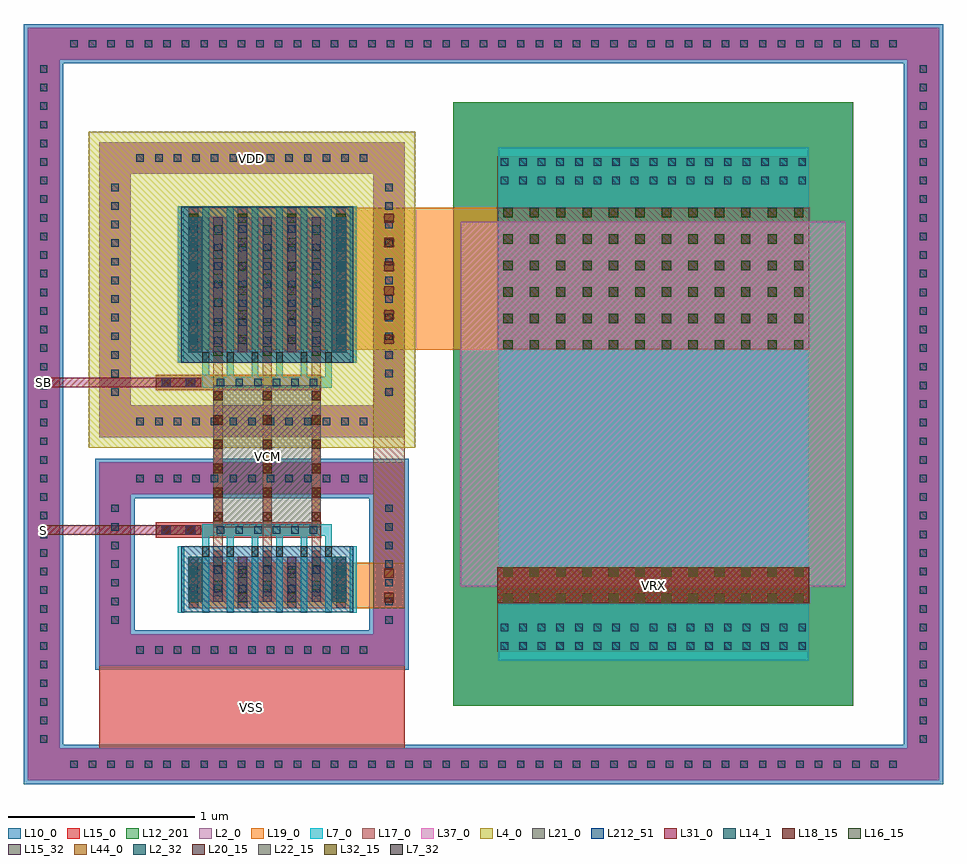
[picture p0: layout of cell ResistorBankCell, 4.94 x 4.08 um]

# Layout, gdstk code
import gdstk
lib = gdstk.Library(unit=1e-6, precision=1e-09)
def R(c, l, rs):  # rectangles x0, y0, x1, y1
    for r in rs: c.add(gdstk.rectangle(r[:2], r[2:], *l))
def A(c, l, x, y, w, h, nx, ny, dx, dy):  # array of equal rectangles
    R(c, l, [(x+i*dx, y+j*dy, x+i*dx+w, y+j*dy+h) for i in range(nx) for j in range(ny)])
L2_0 = (2, 0)
L2_32 = (2, 32)
L4_0 = (4, 0)
L7_0 = (7, 0)
L7_32 = (7, 32)
L10_0 = (10, 0)
L12_201 = (12, 201)
L14_1 = (14, 1)
L15_0 = (15, 0)
L15_32 = (15, 32)
L16_15 = (16, 15)
L17_0 = (17, 0)
L18_15 = (18, 15)
L19_0 = (19, 0)
L20_15 = (20, 15)
L21_0 = (21, 0)
L22_15 = (22, 15)
L31_0 = (31, 0)
L32_15 = (32, 15)
L37_0 = (37, 0)
L44_0 = (44, 0)
L212_51 = (212, 51)

nmosintransmissiongate = lib.new_cell('NMOSInTransmissionGate')
R(nmosintransmissiongate, L2_0, [(-0.424,-0.121,0.424,0.121)])
R(nmosintransmissiongate, L2_32, [(-0.424,-0.121,-0.348,0.121), (0.348,-0.121,0.424,0.121)])
A(nmosintransmissiongate, L7_0, -0.48, -0.178, 0.036, 0.356, 8, 1, 0.132, 0)
A(nmosintransmissiongate, L7_32, -0.348, -0.178, 0.036, 0.057, 6, 1, 0.132, 0)
A(nmosintransmissiongate, L14_1, -0.416, -0.07, 0.04, 0.04, 7, 2, 0.132, 0.1)
A(nmosintransmissiongate, L15_0, -0.421, -0.121, 0.05, 0.242, 7, 1, 0.132, 0)
A(nmosintransmissiongate, L15_32, -0.421, -0.121, 0.05, 0.242, 7, 1, 0.132, 0)
R(nmosintransmissiongate, L212_51, [(-0.462,-0.177,0.462,0.177)])

pmosintransmissiongate = lib.new_cell('PMOSInTransmissionGate')
R(pmosintransmissiongate, L2_0, [(-0.424,-0.363,0.424,0.363)])
R(pmosintransmissiongate, L2_32, [(-0.424,-0.363,-0.348,0.363), (0.348,-0.363,0.424,0.363)])
A(pmosintransmissiongate, L7_0, -0.48, -0.42, 0.036, 0.84, 8, 1, 0.132, 0)
A(pmosintransmissiongate, L7_32, -0.348, -0.42, 0.036, 0.057, 6, 1, 0.132, 0)
R(pmosintransmissiongate, L10_0, [(-0.48,-0.42,0.48,0.42)])
A(pmosintransmissiongate, L14_1, -0.416, -0.32, 0.04, 0.04, 7, 7, 0.132, 0.1)
A(pmosintransmissiongate, L15_0, -0.421, -0.363, 0.05, 0.726, 7, 1, 0.132, 0)
A(pmosintransmissiongate, L15_32, -0.421, -0.363, 0.05, 0.726, 7, 1, 0.132, 0)
R(pmosintransmissiongate, L212_51, [(-0.462,-0.419,0.462,0.419)])

viamet12met2onpmosoutput = lib.new_cell('ViaMet12Met2OnPMOSOutputInTransmissionGate')
R(viamet12met2onpmosoutput, L15_0, [(-0.025,-0.382,0.025,0.382)])
A(viamet12met2onpmosoutput, L16_15, -0.025, -0.35, 0.05, 0.05, 1, 6, 0, 0.13)
R(viamet12met2onpmosoutput, L17_0, [(-0.025,-0.382,0.025,0.382)])

viamet22met3onpmosoutput = lib.new_cell('ViaMet22Met3OnPMOSOutputInTransmissionGate')
R(viamet22met3onpmosoutput, L17_0, [(-0.025,-0.382,0.025,0.382)])
A(viamet22met3onpmosoutput, L18_15, -0.025, -0.35, 0.05, 0.05, 1, 6, 0, 0.13)
R(viamet22met3onpmosoutput, L19_0, [(-0.025,-0.382,0.025,0.382)])

viamet12met2onnmosoutput = lib.new_cell('ViaMet12Met2OnNMOSOutputInTransmissionGate')
R(viamet12met2onnmosoutput, L15_0, [(-0.025,-0.122,0.025,0.122)])
R(viamet12met2onnmosoutput, L16_15, [(-0.025,-0.09,0.025,-0.04), (-0.025,0.04,0.025,0.09)])
R(viamet12met2onnmosoutput, L17_0, [(-0.025,-0.122,0.025,0.122)])

viamet22met3onnmosoutput = lib.new_cell('ViaMet22Met3OnNMOSOutputInTransmissionGate')
R(viamet22met3onnmosoutput, L17_0, [(-0.025,-0.122,0.025,0.122)])
R(viamet22met3onnmosoutput, L18_15, [(-0.025,-0.09,0.025,-0.04), (-0.025,0.04,0.025,0.09)])
R(viamet22met3onnmosoutput, L19_0, [(-0.025,-0.122,0.025,0.122)])

viapoly2met1onpmoscontro = lib.new_cell('ViaPoly2Met1OnPMOSControlInTransmissionGate')
R(viapoly2met1onpmoscontro, L7_0, [(-0.28,-0.03,0.28,0.03)])
A(viapoly2met1onpmoscontro, L14_1, -0.27, -0.02, 0.04, 0.04, 6, 1, 0.1, 0)
R(viapoly2met1onpmoscontro, L15_0, [(-0.291,-0.041,0.291,0.041)])

viapoly2met1onnmoscontro = lib.new_cell('ViaPoly2Met1OnNMOSControlInTransmissionGate')
R(viapoly2met1onnmoscontro, L7_0, [(-0.28,-0.03,0.28,0.03)])
A(viapoly2met1onnmoscontro, L14_1, -0.27, -0.02, 0.04, 0.04, 6, 1, 0.1, 0)
R(viapoly2met1onnmoscontro, L15_0, [(-0.291,-0.041,0.291,0.041)])

transmissiongateinresist = lib.new_cell('TransmissionGateInResistorBank')
transmissiongateinresist.add(gdstk.FlexPath([(-0.33,0.379),(-0.33,0.674)], 0.036, ends="flush", simple_path=True, layer=7, datatype=0))  # L7_0
transmissiongateinresist.add(gdstk.FlexPath([(-0.198,0.379),(-0.198,0.674)], 0.036, ends="flush", simple_path=True, layer=7, datatype=0))  # L7_0
transmissiongateinresist.add(gdstk.FlexPath([(-0.066,0.379),(-0.066,0.674)], 0.036, ends="flush", simple_path=True, layer=7, datatype=0))  # L7_0
transmissiongateinresist.add(gdstk.FlexPath([(0.066,0.379),(0.066,0.674)], 0.036, ends="flush", simple_path=True, layer=7, datatype=0))  # L7_0
transmissiongateinresist.add(gdstk.FlexPath([(0.198,0.379),(0.198,0.674)], 0.036, ends="flush", simple_path=True, layer=7, datatype=0))  # L7_0
transmissiongateinresist.add(gdstk.FlexPath([(0.33,0.379),(0.33,0.674)], 0.036, ends="flush", simple_path=True, layer=7, datatype=0))  # L7_0
transmissiongateinresist.add(gdstk.FlexPath([(-0.33,1.962),(-0.33,1.407)], 0.036, ends="flush", simple_path=True, layer=7, datatype=0))  # L7_0
transmissiongateinresist.add(gdstk.FlexPath([(-0.198,1.962),(-0.198,1.407)], 0.036, ends="flush", simple_path=True, layer=7, datatype=0))  # L7_0
transmissiongateinresist.add(gdstk.FlexPath([(-0.066,1.962),(-0.066,1.407)], 0.036, ends="flush", simple_path=True, layer=7, datatype=0))  # L7_0
transmissiongateinresist.add(gdstk.FlexPath([(0.066,1.962),(0.066,1.407)], 0.036, ends="flush", simple_path=True, layer=7, datatype=0))  # L7_0
transmissiongateinresist.add(gdstk.FlexPath([(0.198,1.962),(0.198,1.407)], 0.036, ends="flush", simple_path=True, layer=7, datatype=0))  # L7_0
transmissiongateinresist.add(gdstk.FlexPath([(0.33,1.962),(0.33,1.407)], 0.036, ends="flush", simple_path=True, layer=7, datatype=0))  # L7_0
transmissiongateinresist.add(gdstk.FlexPath([(-0.33,0.644),(0.33,0.644)], 0.06, ends="flush", simple_path=True, layer=7, datatype=0))  # L7_0
transmissiongateinresist.add(gdstk.FlexPath([(-0.33,1.437),(0.33,1.437)], 0.06, ends="flush", simple_path=True, layer=7, datatype=0))  # L7_0
transmissiongateinresist.add(gdstk.Reference(nmosintransmissiongate, (0,0.379), x_reflection=True))
transmissiongateinresist.add(gdstk.Reference(pmosintransmissiongate, (0,1.962)))
transmissiongateinresist.add(gdstk.Reference(viamet12met2onpmosoutput, (-0.264,1.93)))
transmissiongateinresist.add(gdstk.Reference(viamet12met2onpmosoutput, (0,1.93)))
transmissiongateinresist.add(gdstk.Reference(viamet12met2onpmosoutput, (0.264,1.93)))
transmissiongateinresist.add(gdstk.Reference(viamet12met2onpmosoutput, (-0.396,1.994)))
transmissiongateinresist.add(gdstk.Reference(viamet12met2onpmosoutput, (-0.132,1.994)))
transmissiongateinresist.add(gdstk.Reference(viamet12met2onpmosoutput, (0.132,1.994)))
transmissiongateinresist.add(gdstk.Reference(viamet12met2onpmosoutput, (0.396,1.994)))
transmissiongateinresist.add(gdstk.Reference(viamet22met3onpmosoutput, (-0.396,1.994)))
transmissiongateinresist.add(gdstk.Reference(viamet22met3onpmosoutput, (-0.132,1.994)))
transmissiongateinresist.add(gdstk.Reference(viamet22met3onpmosoutput, (0.132,1.994)))
transmissiongateinresist.add(gdstk.Reference(viamet22met3onpmosoutput, (0.396,1.994)))
transmissiongateinresist.add(gdstk.Reference(viamet12met2onnmosoutput, (-0.264,0.411)))
transmissiongateinresist.add(gdstk.Reference(viamet12met2onnmosoutput, (0,0.411)))
transmissiongateinresist.add(gdstk.Reference(viamet12met2onnmosoutput, (0.264,0.411)))
transmissiongateinresist.add(gdstk.Reference(viamet12met2onnmosoutput, (-0.396,0.347)))
transmissiongateinresist.add(gdstk.Reference(viamet12met2onnmosoutput, (-0.132,0.347)))
transmissiongateinresist.add(gdstk.Reference(viamet12met2onnmosoutput, (0.132,0.347)))
transmissiongateinresist.add(gdstk.Reference(viamet12met2onnmosoutput, (0.396,0.347)))
transmissiongateinresist.add(gdstk.Reference(viamet22met3onnmosoutput, (-0.396,0.347)))
transmissiongateinresist.add(gdstk.Reference(viamet22met3onnmosoutput, (-0.132,0.347)))
transmissiongateinresist.add(gdstk.Reference(viamet22met3onnmosoutput, (0.132,0.347)))
transmissiongateinresist.add(gdstk.Reference(viamet22met3onnmosoutput, (0.396,0.347)))
transmissiongateinresist.add(gdstk.Reference(viapoly2met1onpmoscontro, (0,1.437)))
transmissiongateinresist.add(gdstk.Reference(viapoly2met1onnmoscontro, (0,0.644)))

viamet12met2oninputinres = lib.new_cell('ViaMet12Met2OnInputInResistorBank')
R(viamet12met2oninputinres, L15_0, [(-0.122,-0.025,0.122,0.025)])
R(viamet12met2oninputinres, L16_15, [(-0.09,-0.025,-0.04,0.025), (0.04,-0.025,0.09,0.025)])
R(viamet12met2oninputinres, L17_0, [(-0.122,-0.025,0.122,0.025)])

viamet22met3oninputinres = lib.new_cell('ViaMet22Met3OnInputInResistorBank')
R(viamet22met3oninputinres, L17_0, [(-0.122,-0.025,0.122,0.025)])
R(viamet22met3oninputinres, L18_15, [(-0.09,-0.025,-0.04,0.025), (0.04,-0.025,0.09,0.025)])
R(viamet22met3oninputinres, L19_0, [(-0.122,-0.025,0.122,0.025)])

viamet32met4oninputinres = lib.new_cell('ViaMet32Met4OnInputInResistorBank')
R(viamet32met4oninputinres, L19_0, [(-0.122,-0.025,0.122,0.025)])
R(viamet32met4oninputinres, L20_15, [(-0.09,-0.025,-0.04,0.025), (0.04,-0.025,0.09,0.025)])
R(viamet32met4oninputinres, L21_0, [(-0.122,-0.025,0.122,0.025)])

viamet42met5oninputinres = lib.new_cell('ViaMet42Met5OnInputInResistorBank')
R(viamet42met5oninputinres, L21_0, [(-0.122,-0.025,0.122,0.025)])
R(viamet42met5oninputinres, L22_15, [(-0.09,-0.025,-0.04,0.025), (0.04,-0.025,0.09,0.025)])
R(viamet42met5oninputinres, L31_0, [(-0.122,-0.025,0.122,0.025)])

opppcresinresistorbank = lib.new_cell('OpppcresInResistorBank')
R(opppcresinresistorbank, L7_0, [(-0.834,-1.38,0.834,1.38)])
R(opppcresinresistorbank, L10_0, [(-1.074,-1.62,1.074,1.62)])
R(opppcresinresistorbank, L12_201, [(-1.074,-1.62,1.074,1.62)])
A(opppcresinresistorbank, L14_1, -0.82, -1.32, 0.04, 0.04, 17, 2, 0.1, 0.1)
A(opppcresinresistorbank, L14_1, -0.82, 1.18, 0.04, 0.04, 17, 2, 0.1, 0.1)
R(opppcresinresistorbank, L15_0, [(-0.832,-1.332,0.832,-1.168), (-0.832,1.168,0.832,1.332)])
R(opppcresinresistorbank, L37_0, [(-1.034,-0.98,1.034,0.98)])

pmossubringinresistorban = lib.new_cell('PMOSSubringInResistorBank')
R(pmossubringinresistorban, L2_0, [(-0.821,-0.792,0.821,-0.622), (-0.821,-0.792,-0.651,0.792), (0.651,-0.792,0.821,0.792), (-0.821,0.622,0.821,0.792)])
A(pmossubringinresistorban, L14_1, -0.62, -0.727, 0.04, 0.04, 13, 2, 0.1, 1.414)
A(pmossubringinresistorban, L14_1, -0.756, -0.57, 0.04, 0.04, 1, 12, 0, 0.1)
A(pmossubringinresistorban, L14_1, 0.716, -0.57, 0.04, 0.04, 1, 12, 0, 0.1)
R(pmossubringinresistorban, L15_0, [(-0.821,-0.792,0.821,-0.622), (-0.821,-0.792,-0.651,0.792), (0.651,-0.792,0.821,0.792), (-0.821,0.622,0.821,0.792)])
pmossubringinresistorban.add(gdstk.FlexPath([(0.736,0.848),(0.736,-0.707),(-0.736,-0.707),(-0.736,0.707),(0.877,0.707)], 0.282, ends="flush", simple_path=True, layer=4, datatype=0))  # L4_0

nmossubringinresistorban = lib.new_cell('NMOSSubringInResistorBank')
R(nmossubringinresistorban, L2_0, [(-0.821,-0.546,0.821,-0.376), (-0.821,-0.546,-0.651,0.546), (0.651,-0.546,0.821,0.546), (-0.821,0.376,0.821,0.546)])
A(nmossubringinresistorban, L14_1, -0.62, -0.481, 0.04, 0.04, 13, 2, 0.1, 0.922)
A(nmossubringinresistorban, L14_1, -0.756, -0.32, 0.04, 0.04, 1, 7, 0, 0.1)
A(nmossubringinresistorban, L14_1, 0.716, -0.32, 0.04, 0.04, 1, 7, 0, 0.1)
R(nmossubringinresistorban, L15_0, [(-0.821,-0.546,0.821,-0.376), (-0.821,-0.546,-0.651,0.546), (0.651,-0.546,0.821,0.546), (-0.821,0.376,0.821,0.546)])
nmossubringinresistorban.add(gdstk.FlexPath([(0.736,0.567),(0.736,-0.461),(-0.736,-0.461),(-0.736,0.461),(0.842,0.461)], 0.212, ends="flush", simple_path=True, layer=10, datatype=0))  # L10_0

totalsubringinresistorba = lib.new_cell('TotalSubringInResistorBank')
R(totalsubringinresistorba, L2_0, [(-2.447,-2.02,2.447,-1.85), (-2.447,-2.02,-2.277,2.02), (2.277,-2.02,2.447,2.02), (-2.447,1.85,2.447,2.02)])
A(totalsubringinresistorba, L14_1, -2.22, -1.955, 0.04, 0.04, 45, 2, 0.1, 3.87)
A(totalsubringinresistorba, L14_1, -2.382, -1.82, 0.04, 0.04, 1, 37, 0, 0.1)
A(totalsubringinresistorba, L14_1, 2.342, -1.82, 0.04, 0.04, 1, 37, 0, 0.1)
R(totalsubringinresistorba, L15_0, [(-2.447,-2.02,2.447,-1.85), (-2.447,-2.02,-2.277,2.02), (2.277,-2.02,2.447,2.02), (-2.447,1.85,2.447,2.02)])
totalsubringinresistorba.add(gdstk.FlexPath([(2.362,2.041),(2.362,-1.935),(-2.362,-1.935),(-2.362,1.935),(2.468,1.935)], 0.212, ends="flush", simple_path=True, layer=10, datatype=0))  # L10_0

viamet12met2onresistorin = lib.new_cell('ViaMet12Met2OnResistorInResistorBank')
R(viamet12met2onresistorin, L15_0, [(-0.838,-0.38,0.838,0.38)])
A(viamet12met2onresistorin, L16_15, -0.806, -0.38, 0.05, 0.05, 12, 6, 0.142, 0.142)
R(viamet12met2onresistorin, L17_0, [(-0.838,-0.38,0.838,0.38)])

viamet12met2onresistor1i = lib.new_cell('ViaMet12Met2OnResistor1InResistorBank')
R(viamet12met2onresistor1i, L15_0, [(-0.838,-0.096,0.838,0.096)])
A(viamet12met2onresistor1i, L16_15, -0.806, -0.096, 0.05, 0.05, 12, 2, 0.142, 0.142)
R(viamet12met2onresistor1i, L17_0, [(-0.838,-0.096,0.838,0.096)])

viamet22met3onresistorin = lib.new_cell('ViaMet22Met3OnResistorInResistorBank')
R(viamet22met3onresistorin, L17_0, [(-0.838,-0.38,0.838,0.38)])
A(viamet22met3onresistorin, L18_15, -0.806, -0.38, 0.05, 0.05, 12, 6, 0.142, 0.142)
R(viamet22met3onresistorin, L19_0, [(-0.838,-0.38,0.838,0.38)])

viamet22met3onresistor1i = lib.new_cell('ViaMet22Met3OnResistor1InResistorBank')
R(viamet22met3onresistor1i, L17_0, [(-0.838,-0.096,0.838,0.096)])
A(viamet22met3onresistor1i, L18_15, -0.806, -0.096, 0.05, 0.05, 12, 2, 0.142, 0.142)
R(viamet22met3onresistor1i, L19_0, [(-0.838,-0.096,0.838,0.096)])

viamet32met4onresistorin = lib.new_cell('ViaMet32Met4OnResistorInResistorBank')
R(viamet32met4onresistorin, L19_0, [(-0.838,-0.096,0.838,0.096)])
A(viamet32met4onresistorin, L20_15, -0.806, -0.096, 0.05, 0.05, 12, 2, 0.142, 0.142)
R(viamet32met4onresistorin, L21_0, [(-0.838,-0.096,0.838,0.096)])

viamet42met5onresistorin = lib.new_cell('ViaMet42Met5OnResistorInResistorBank')
R(viamet42met5onresistorin, L21_0, [(-0.838,-0.096,0.838,0.096)])
A(viamet42met5onresistorin, L22_15, -0.806, -0.096, 0.05, 0.05, 12, 2, 0.142, 0.142)
R(viamet42met5onresistorin, L31_0, [(-0.838,-0.096,0.838,0.096)])

viamet52met6onresistorin = lib.new_cell('ViaMet52Met6OnResistorInResistorBank')
R(viamet52met6onresistorin, L31_0, [(-0.838,-0.096,0.838,0.096)])
A(viamet52met6onresistorin, L32_15, -0.806, -0.096, 0.05, 0.05, 12, 2, 0.142, 0.142)
R(viamet52met6onresistorin, L44_0, [(-0.838,-0.096,0.838,0.096)])

viavcmmet22met3inresisto = lib.new_cell('ViaVCMMet22Met3InResistorBank')
R(viavcmmet22met3inresisto, L17_0, [(-0.025,-0.382,0.025,0.382)])
A(viavcmmet22met3inresisto, L18_15, -0.025, -0.35, 0.05, 0.05, 1, 6, 0, 0.13)
R(viavcmmet22met3inresisto, L19_0, [(-0.025,-0.382,0.025,0.382)])

viavcmmet32met4inresisto = lib.new_cell('ViaVCMMet32Met4InResistorBank')
R(viavcmmet32met4inresisto, L19_0, [(-0.025,-0.382,0.025,0.382)])
A(viavcmmet32met4inresisto, L20_15, -0.025, -0.35, 0.05, 0.05, 1, 6, 0, 0.13)
R(viavcmmet32met4inresisto, L21_0, [(-0.025,-0.382,0.025,0.382)])

viatgpmos2resmet22met3in = lib.new_cell('ViaTGPMOS2ResMet22Met3InResistorBank')
R(viatgpmos2resmet22met3in, L17_0, [(-0.057,-0.35,0.057,0.35)])
A(viatgpmos2resmet22met3in, L18_15, -0.025, -0.35, 0.05, 0.05, 1, 6, 0, 0.13)
R(viatgpmos2resmet22met3in, L19_0, [(-0.057,-0.35,0.057,0.35)])

viatgnmos2resmet22met3in = lib.new_cell('ViaTGNMOS2ResMet22Met3InResistorBank')
R(viatgnmos2resmet22met3in, L17_0, [(-0.057,-0.09,0.057,0.09)])
R(viatgnmos2resmet22met3in, L18_15, [(-0.025,-0.09,0.025,-0.04), (-0.025,0.04,0.025,0.09)])
R(viatgnmos2resmet22met3in, L19_0, [(-0.057,-0.09,0.057,0.09)])

resistorbankcell = lib.new_cell('ResistorBankCell')
R(resistorbankcell, L15_0, [(-0.903,-0.699,0.739,0.085)])
A(resistorbankcell, L17_0, -0.289, 0.289, 0.05, 2.024, 3, 1, 0.264, 0)
R(resistorbankcell, L21_0, [(-0.264,0.658,0.264,1.422)])
resistorbankcell.add(gdstk.FlexPath([(-0.477,1.437),(-1.2,1.437)], 0.05, ends="flush", simple_path=True, layer=31, datatype=0))  # L31_0
resistorbankcell.add(gdstk.FlexPath([(-0.477,0.644),(-1.2,0.644)], 0.05, ends="flush", simple_path=True, layer=31, datatype=0))  # L31_0
resistorbankcell.add(gdstk.FlexPath([(-0.733,1.935),(0.569,1.935)], 1.244, ends="flush", simple_path=True, layer=4, datatype=0))  # L4_0
resistorbankcell.add(gdstk.FlexPath([(-0.599,1.437),(0,1.437)], 0.082, ends="flush", simple_path=True, layer=15, datatype=0))  # L15_0
resistorbankcell.add(gdstk.FlexPath([(-0.599,0.644),(0,0.644)], 0.082, ends="flush", simple_path=True, layer=15, datatype=0))  # L15_0
resistorbankcell.add(gdstk.FlexPath([(2.074,1.614),(2.074,2.653)], 1.676, ends="flush", simple_path=True, layer=15, datatype=0))  # L15_0
resistorbankcell.add(gdstk.FlexPath([(2.074,0.443),(2.074,-0.011)], 1.676, ends="flush", simple_path=True, layer=15, datatype=0))  # L15_0
resistorbankcell.add(gdstk.FlexPath([(-0.396,1.994),(2.912,1.994)], 0.764, ends="flush", simple_path=True, layer=19, datatype=0))  # L19_0
resistorbankcell.add(gdstk.FlexPath([(-0.396,0.347),(0.739,0.347)], 0.244, ends="flush", simple_path=True, layer=19, datatype=0))  # L19_0
resistorbankcell.add(gdstk.FlexPath([(0.654,2.376),(0.654,0.225)], 0.17, ends="flush", simple_path=True, layer=17, datatype=0))  # L17_0
resistorbankcell.add(gdstk.Reference(transmissiongateinresist, (0,0)))
resistorbankcell.add(gdstk.Reference(viamet12met2oninputinres, (-0.477,1.437)))
resistorbankcell.add(gdstk.Reference(viamet12met2oninputinres, (-0.477,0.644)))
resistorbankcell.add(gdstk.Reference(viamet22met3oninputinres, (-0.477,1.437)))
resistorbankcell.add(gdstk.Reference(viamet22met3oninputinres, (-0.477,0.644)))
resistorbankcell.add(gdstk.Reference(viamet32met4oninputinres, (-0.477,1.437)))
resistorbankcell.add(gdstk.Reference(viamet32met4oninputinres, (-0.477,0.644)))
resistorbankcell.add(gdstk.Reference(viamet42met5oninputinres, (-0.477,1.437)))
resistorbankcell.add(gdstk.Reference(viamet42met5oninputinres, (-0.477,0.644)))
resistorbankcell.add(gdstk.Reference(opppcresinresistorbank, (2.074,1.321)))
resistorbankcell.add(gdstk.Reference(pmossubringinresistorban, (-0.082,1.935)))
resistorbankcell.add(gdstk.Reference(nmossubringinresistorban, (-0.082,0.461)))
resistorbankcell.add(gdstk.Reference(totalsubringinresistorba, (1.162,1.321)))
resistorbankcell.add(gdstk.Reference(viamet12met2onresistorin, (2.074,1.994)))
resistorbankcell.add(gdstk.Reference(viamet12met2onresistor1i, (2.074,0.347)))
resistorbankcell.add(gdstk.Reference(viamet22met3onresistorin, (2.074,1.994)))
resistorbankcell.add(gdstk.Reference(viamet22met3onresistor1i, (2.074,0.347)))
resistorbankcell.add(gdstk.Reference(viamet32met4onresistorin, (2.074,0.347)))
resistorbankcell.add(gdstk.Reference(viamet42met5onresistorin, (2.074,0.347)))
resistorbankcell.add(gdstk.Reference(viamet52met6onresistorin, (2.074,0.347)))
resistorbankcell.add(gdstk.Reference(viavcmmet22met3inresisto, (-0.264,1.04)))
resistorbankcell.add(gdstk.Reference(viavcmmet22met3inresisto, (0,1.04)))
resistorbankcell.add(gdstk.Reference(viavcmmet22met3inresisto, (0.264,1.04)))
resistorbankcell.add(gdstk.Reference(viavcmmet32met4inresisto, (-0.264,1.04)))
resistorbankcell.add(gdstk.Reference(viavcmmet32met4inresisto, (0,1.04)))
resistorbankcell.add(gdstk.Reference(viavcmmet32met4inresisto, (0.264,1.04)))
resistorbankcell.add(gdstk.Reference(viatgpmos2resmet22met3in, (0.654,1.994)))
resistorbankcell.add(gdstk.Reference(viatgnmos2resmet22met3in, (0.654,0.347)))
resistorbankcell.add(gdstk.Label('VDD', (-0.082,2.642), layer=15, texttype=20))
resistorbankcell.add(gdstk.Label('VSS', (-0.082,-0.307), layer=15, texttype=20))
resistorbankcell.add(gdstk.Label('S', (-1.2,0.644), layer=31, texttype=20))
resistorbankcell.add(gdstk.Label('SB', (-1.2,1.437), layer=31, texttype=20))
resistorbankcell.add(gdstk.Label('VRX', (2.074,0.347), layer=44, texttype=20))
resistorbankcell.add(gdstk.Label('VCM', (0,1.04), layer=21, texttype=20))

lib.write_gds('ResistorBankCell.gds')
